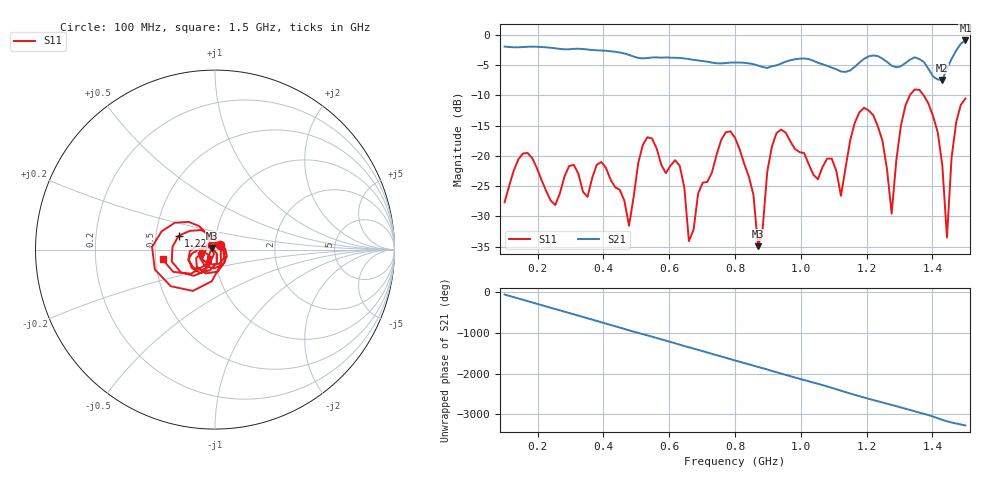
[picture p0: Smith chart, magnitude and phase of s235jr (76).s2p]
! NanoVNA-App
! Date: 2025-09-26 09:45:23
! Start: 100MHz Stop: 1,5GHz Points: 101
! S-Parameter data: F S11 S21 S12 S22
# Hz S RI R 50
!  Frequency  S11_Real  S11_Imag  S21_Real  S21_Imag  S12_Real  S12_Imag  S22_Real  S22_Imag
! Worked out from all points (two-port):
!   101 points, 100 MHz to 1.5 GHz, reference 50 ohm
!   highest |S21| = -0.95 dB at 1.5 GHz (marker M1); lowest = -7.5 dB at 1.43 GHz (marker M2)
!   |S21| within 3 dB of the highest: start of sweep to 650.8 MHz; 1.193 GHz to 1.248 GHz (54.35 MHz wide, 4.45 % of centre) (the widest 2 of 5)
!   lowest |S11| = -34.9 dB at 870 MHz (marker M3), VSWR 1.04, Z = 48.5 + j0.944 ohm
!   |S11| at or under -10 dB: start of sweep to 1.331 GHz; 1.373 GHz to end of sweep
!   S12 and S22 are empty: the file has one direction only
!   S11 on the Smith chart (normalised r, x): 100 MHz: 1.06, +0.06; 1.22 GHz: 0.66, +0.11; 1.5 GHz: 0.54, -0.07
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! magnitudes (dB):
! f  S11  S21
! 100 MHz  -27.6  -2.0
! 156 MHz  -19.6  -2.0
! 338 MHz  -25.9  -2.4
! 394 MHz  -21.0  -2.6
! 478 MHz  -31.5  -3.3
! 520 MHz  -18.2  -3.9
! 576 MHz  -21.5  -3.8
! 632 MHz  -21.6  -3.8
! 660 MHz  -34.1  -4.0
! 800 MHz  -17.0  -4.6
! 870 MHz  -34.9  -5.1
! 926 MHz  -16.3  -5.1
! 1.038 GHz  -23.1  -4.3
! 1.122 GHz  -26.6  -6.1
! 1.164 GHz  -14.5  -5.3
! 1.22 GHz  -13.3  -3.4
! 1.276 GHz  -29.5  -5.1
! 1.346 GHz  -9.0  -3.7
! 1.43 GHz  -21.6  -7.5
! 1.444 GHz  -33.5  -5.6
! 1.472 GHz  -14.5  -2.6
! 1.5 GHz  -10.5  -0.9
